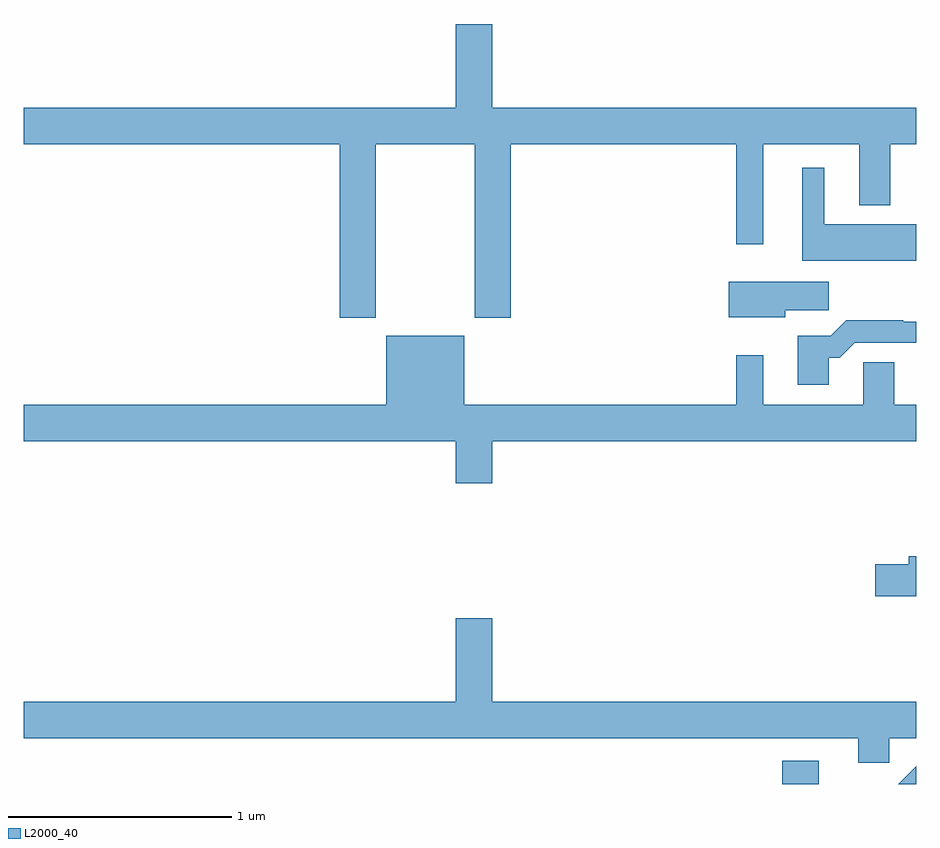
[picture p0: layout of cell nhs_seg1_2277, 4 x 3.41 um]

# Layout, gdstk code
import gdstk
lib = gdstk.Library(unit=1e-6, precision=1e-09)
def R(c, l, rs):  # rectangles x0, y0, x1, y1
    for r in rs: c.add(gdstk.rectangle(r[:2], r[2:], *l))
def P(c, l, *ps):  # polygons
    for p in ps: c.add(gdstk.Polygon(p, *l))
L2000_40 = (2000, 40)

nhs_seg1_2277 = lib.new_cell('nhs_seg1_2277')
R(nhs_seg1_2277, L2000_40, [(238.4,546.199,238.564,546.304)])
P(nhs_seg1_2277, L2000_40, [(236.577,549.068),(237.022,549.068),(237.022,548.289),(237.182,548.289),(237.182,549.068),(238.194,549.068),(238.194,548.619),(238.315,548.619),(238.315,549.068),(238.745,549.068),(238.745,548.795),(238.885,548.795),(238.885,549.068),(239,549.068),(239,549.232),(237.1,549.232),(237.1,549.607),(236.936,549.607),(236.936,549.232),(235,549.232),(235,549.068),(236.417,549.068),(236.417,548.289),(236.577,548.289)],
  [(239,548.71),(238.588,548.71),(238.588,548.962),(238.49,548.962),(238.49,548.546),(239,548.546)],
  [(238.414,548.323),(238.609,548.323),(238.609,548.452),(238.16,548.452),(238.16,548.291),(238.414,548.291)],
  [(238.609,548.111),(238.658,548.111),(238.725,548.178),(239,548.178),(239,548.272),(238.943,548.272),(238.943,548.279),(238.688,548.279),(238.618,548.209),(238.469,548.209),(238.469,547.989),(238.609,547.989)],
  [(237.1,547.736),(239,547.736),(239,547.9),(238.903,547.9),(238.903,548.09),(238.764,548.09),(238.764,547.9),(238.315,547.9),(238.315,548.122),(238.194,548.122),(238.194,547.9),(236.974,547.9),(236.974,548.209),(236.624,548.209),(236.624,547.9),(235,547.9),(235,547.736),(236.936,547.736),(236.936,547.548),(237.1,547.548)],
  [(239,547.22),(238.967,547.22),(238.967,547.184),(238.818,547.184),(238.818,547.042),(239,547.042)],
  [(238.881,546.404),(239,546.404),(239,546.568),(237.1,546.568),(237.1,546.943),(236.936,546.943),(236.936,546.568),(235,546.568),(235,546.404),(238.742,546.404),(238.742,546.294),(238.881,546.294)],
  [(239,546.278),(238.921,546.199),(239,546.199)])

lib.write_gds('nhs_seg1_2277.gds')
